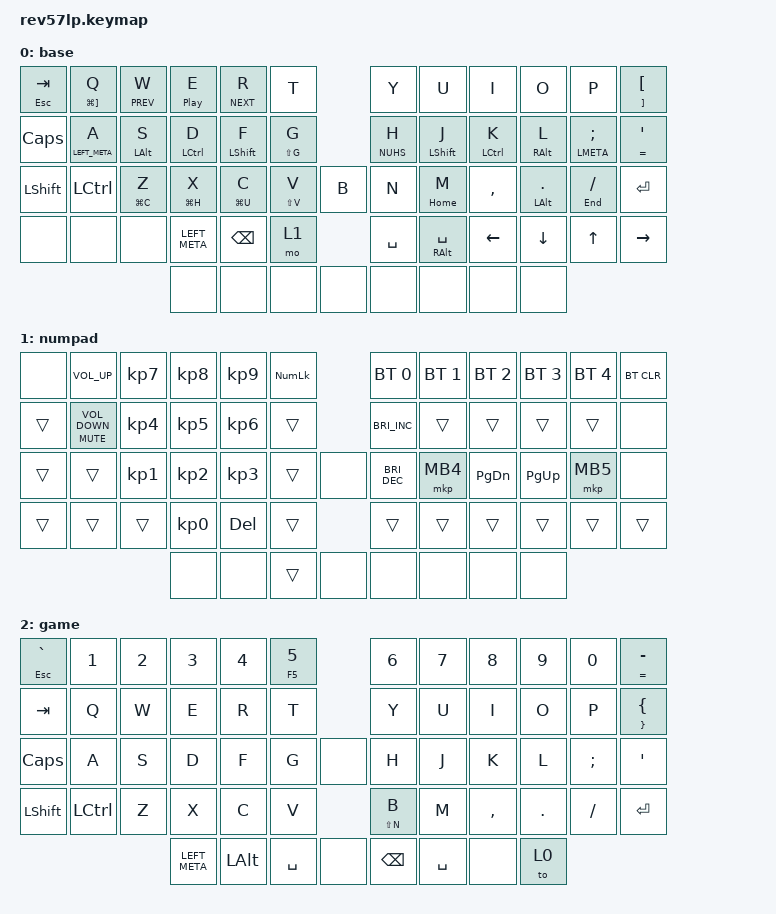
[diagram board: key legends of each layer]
/*
 * Copyright (c) 2022 The ZMK Contributors
 *
 * SPDX-License-Identifier: MIT
 */

#include <behaviors.dtsi>
#include <dt-bindings/zmk/bt.h>
#include <dt-bindings/zmk/keys.h>
#include <dt-bindings/zmk/pointing.h>

#define BASE    0
#define FNAV    1
#define BT      2

&mt {
    flavor = "tap-preferred";
    tapping-term-ms = <200>;
};

/ {
    combos {
        compatible = "zmk,combos";

        numrow_2_ralt {
            bindings = <&mt F3 RA(NUMBER_2)>;
            key-positions = <14 2>;
            layers = <0>;
        };

        numrow_3_ralt {
            bindings = <&mt RA(F4) RA(NUMBER_3)>;
            key-positions = <15 3>;
            layers = <0>;
        };

        numrow_4 {
            bindings = <&mt F5 NUMBER_4>;
            key-positions = <16 4>;
            layers = <0>;
        };

        numrow_1 {
            bindings = <&mt F2 NUMBER_1>;
            key-positions = <13 1>;
            layers = <0>;
        };

        numrow_backtick {
            bindings = <&mt F1 GRAVE>;
            key-positions = <12 0>;
            layers = <0>;
        };

        numrow_5 {
            bindings = <&mt F6 N5>;
            key-positions = <17 5>;
            layers = <0>;
        };

        numrow_6 {
            bindings = <&mt F7 NUMBER_6>;
            key-positions = <18 6>;
            layers = <0>;
        };

        numrow_7 {
            bindings = <&mt F8 N7>;
            key-positions = <19 7>;
            layers = <0>;
        };

        numrow_8 {
            bindings = <&mt F9 N8>;
            key-positions = <20 8>;
            layers = <0>;
        };

        numrow_9 {
            bindings = <&mt F10 N9>;
            key-positions = <21 9>;
            layers = <0>;
        };

        numrow_0 {
            bindings = <&mt F11 N0>;
            key-positions = <22 10>;
            layers = <0>;
        };

        numrow_degree {
            bindings = <&mt F12 MINUS>;
            key-positions = <23 11>;
            layers = <0>;
        };

        arrow_right {
            bindings = <&kp RIGHT>;
            key-positions = <35 22>;
            layers = <0>;
        };

        arrow_up {
            bindings = <&kp UP>;
            key-positions = <21 34>;
            layers = <0>;
        };

        arrow_down {
            bindings = <&kp DOWN>;
            key-positions = <20 33>;
            layers = <0>;
        };

        arrow_left {
            bindings = <&kp LEFT>;
            key-positions = <19 32>;
            layers = <0>;
        };
    };

    keymap {
        compatible = "zmk,keymap";

        base {
            bindings = <
&mt ESCAPE TAB  &mt LG(RIGHT_BRACKET) Q  &mt C_PREV W  &mt C_PLAY_PAUSE E  &mt C_NEXT R   &kp T                             &kp Y       &kp U           &kp I        &kp O             &kp P           &mt RIGHT_BRACKET LEFT_BRACKET
&kp CAPSLOCK    &mt LEFT_META A          &mt LALT S    &mt LCTRL D         &mt LSHIFT F   &mt LS(G) G                       &mt NUHS H  &mt LSHFT J     &mt LCTRL K  &mt RALT L        &mt LMETA SEMI  &mt EQUAL SINGLE_QUOTE
&kp LSHFT       &kp LCTRL                &mt LG(C) Z   &mt LG(H) X         &mt LG(U) C    &mt LS(V) V         &kp B         &kp N       &mt HOME M      &kp COMMA    &mt LEFT_ALT DOT  &mt END SLASH   &kp ENTER
&none           &none                    &none         &kp LEFT_META       &kp BACKSPACE  &mo 1                             &kp SPACE   &mt RALT SPACE  &kp LEFT     &kp DOWN          &kp UP          &kp RIGHT_ARROW
                                                       &none               &none          &none        &none         &none  &none       &none           &none
            >;
        };

        numpad {
            bindings = <
&none   &kp C_VOLUME_UP           &kp KP_NUMBER_7  &kp KP_NUMBER_8  &kp KP_NUMBER_9  &kp KP_NUMLOCK                       &bt BT_SEL 0          &bt BT_SEL 1  &bt BT_SEL 2  &bt BT_SEL 3  &bt BT_SEL 4  &bt BT_CLR
&trans  &mt K_MUTE C_VOLUME_DOWN  &kp KP_NUMBER_4  &kp KP_NUMBER_5  &kp KP_NUMBER_6  &trans                               &kp C_BRIGHTNESS_INC  &trans        &trans        &trans        &trans        &none
&trans  &trans                    &kp KP_NUMBER_1  &kp KP_NUMBER_2  &kp KP_NUMBER_3  &trans                 &none         &kp C_BRIGHTNESS_DEC  &mkp MB4      &kp PG_DN     &kp PG_UP     &mkp MB5      &none
&trans  &trans                    &trans           &kp KP_NUMBER_0  &kp DELETE       &trans                               &trans                &trans        &trans        &trans        &trans        &trans
                                                   &none            &none            &trans          &none         &none  &none                 &none         &none
            >;
        };

        game {
            bindings = <
&mt ESCAPE GRAVE  &kp N1            &kp N2  &kp N3         &kp N4        &mt F5 N5                               &kp N6       &kp N7  &kp N8     &kp N9   &kp N0         &mt EQUAL MINUS
&kp TAB           &kp Q             &kp W   &kp E          &kp R         &kp T                                   &kp Y        &kp U   &kp I      &kp O    &kp P          &mt RBRC LBRC
&kp CLCK          &kp A             &kp S   &kp D          &kp F         &kp G             &none                 &kp H        &kp J   &kp K      &kp L    &kp SEMICOLON  &kp SINGLE_QUOTE
&kp LEFT_SHIFT    &kp LEFT_CONTROL  &kp Z   &kp X          &kp C         &kp V                                   &mt LS(N) B  &kp M   &kp COMMA  &kp DOT  &kp SLASH      &kp ENTER
                                            &kp LEFT_META  &kp LEFT_ALT  &kp SPACE  &none         &kp BACKSPACE  &kp SPACE    &none   &to 0
            >;
        };
    };
};
